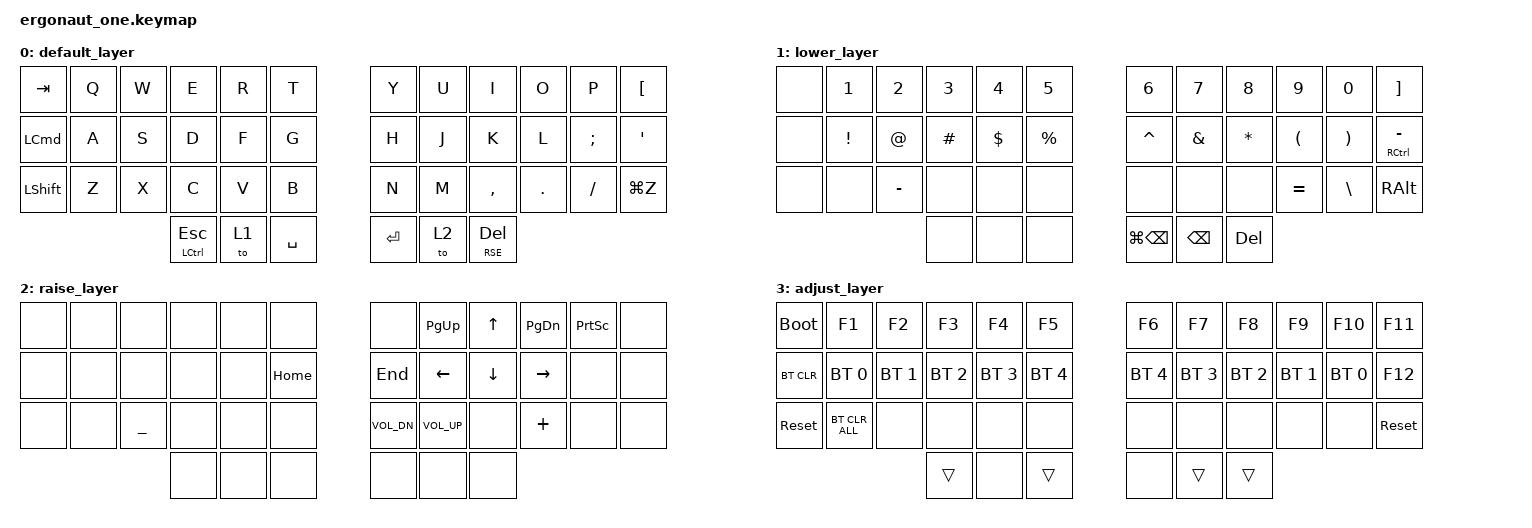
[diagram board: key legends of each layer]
#include <behaviors.dtsi>
#include <dt-bindings/zmk/bt.h>
#include <dt-bindings/zmk/keys.h>

#define DEF 0
#define LWR 1
#define RSE 2
#define ADJ 3

&lt { quick-tap-ms = <200>; };

&mt { quick-tap-ms = <200>; };

/ {
    conditional_layers {
        compatible = "zmk,conditional-layers";

        tri-layer {
            if-layers = <1 2>;
            then-layer = <3>;
        };
    };

    keymap {
        compatible = "zmk,keymap";

        default_layer {
            bindings = <
&kp TAB         &kp Q  &kp W  &kp E             &kp R  &kp T      &kp Y      &kp U  &kp I        &kp O    &kp P     &kp LBKT
&kp LCMD        &kp A  &kp S  &kp D             &kp F  &kp G      &kp H      &kp J  &kp K        &kp L    &kp SEMI  &kp SQT
&kp LEFT_SHIFT  &kp Z  &kp X  &kp C             &kp V  &kp B      &kp N      &kp M  &kp COMMA    &kp DOT  &kp FSLH  &kp LG(Z)
                              &mt LCTRL ESCAPE  &to 1  &kp SPACE  &kp ENTER  &to 2  &lt RSE DEL
            >;
        };

        lower_layer {
            bindings = <
&none  &kp NUMBER_1  &kp NUMBER_2  &kp NUMBER_3  &kp NUMBER_4  &kp NUMBER_5  &kp NUMBER_6       &kp NUMBER_7   &kp NUMBER_8  &kp N9     &kp NUMBER_0   &kp RIGHT_BRACKET
&none  &kp EXCL      &kp AT        &kp HASH      &kp DLLR      &kp PRCNT     &kp CARET          &kp AMPS       &kp STAR      &kp LPAR   &kp RPAR       &mt RCTRL MINUS
&none  &none         &kp MINUS     &none         &none         &none         &none              &none          &none         &kp EQUAL  &kp BACKSLASH  &kp RALT
                                   &none         &none         &none         &kp LG(BACKSPACE)  &kp BACKSPACE  &kp DELETE
            >;
        };

        raise_layer {
            bindings = <
&none  &none  &none           &none  &none  &none     &none         &kp PAGE_UP   &kp UP_ARROW  &kp PAGE_DOWN  &kp PRINTSCREEN  &none
&none  &none  &none           &none  &none  &kp HOME  &kp END       &kp LEFT      &kp DOWN      &kp RIGHT      &none            &none
&none  &none  &kp UNDERSCORE  &none  &none  &none     &kp C_VOL_DN  &kp C_VOL_UP  &none         &kp PLUS       &none            &none
                              &none  &none  &none     &none         &none         &none
            >;
        };

        adjust_layer {
            bindings = <
&bootloader  &kp F1          &kp F2        &kp F3        &kp F4        &kp F5        &kp F6        &kp F7        &kp F8        &kp F9        &kp F10       &kp F11
&bt BT_CLR   &bt BT_SEL 0    &bt BT_SEL 1  &bt BT_SEL 2  &bt BT_SEL 3  &bt BT_SEL 4  &bt BT_SEL 4  &bt BT_SEL 3  &bt BT_SEL 2  &bt BT_SEL 1  &bt BT_SEL 0  &kp F12
&sys_reset   &bt BT_CLR_ALL  &none         &none         &none         &none         &none         &none         &none         &none         &none         &sys_reset
                                           &trans        &none         &trans        &none         &trans        &trans
            >;
        };
    };
};
